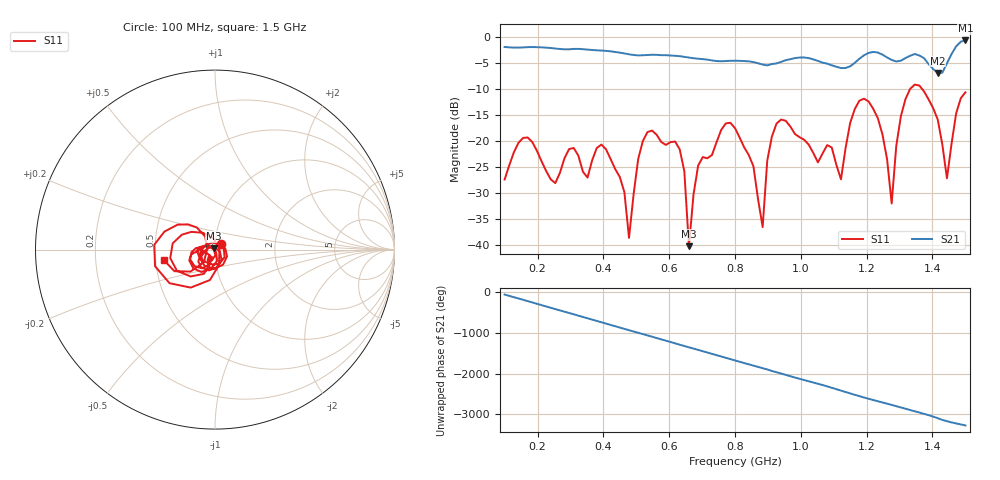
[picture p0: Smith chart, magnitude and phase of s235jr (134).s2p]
! NanoVNA-App
! Date: 2025-09-25 15:05:12
! Start: 100MHz Stop: 1,5GHz Points: 101
! S-Parameter data: F S11 S21 S12 S22
# Hz S RI R 50
!  Frequency  S11_Real  S11_Imag  S21_Real  S21_Imag  S12_Real  S12_Imag  S22_Real  S22_Imag
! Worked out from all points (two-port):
!   101 points, 100 MHz to 1.5 GHz, reference 50 ohm
!   highest |S21| = -0.71 dB at 1.5 GHz (marker M1); lowest = -7.0 dB at 1.416 GHz (marker M2)
!   |S21| within 3 dB of the highest: start of sweep to 626.8 MHz; 1.189 GHz to 1.255 GHz (66.09 MHz wide, 5.41 % of centre) (the widest 2 of 4)
!   lowest |S11| = -40.3 dB at 660 MHz (marker M3), VSWR 1.02, Z = 49.3 + j0.637 ohm
!   |S11| at or under -10 dB: start of sweep to 1.333 GHz; 1.368 GHz to end of sweep
!   S12 and S22 are empty: the file has one direction only
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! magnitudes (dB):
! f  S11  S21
! 100 MHz  -27.5  -2.0
! 170 MHz  -19.4  -2.0
! 338 MHz  -26.0  -2.4
! 408 MHz  -21.6  -2.7
! 478 MHz  -38.7  -3.4
! 520 MHz  -20.1  -3.6
! 576 MHz  -20.3  -3.5
! 632 MHz  -21.7  -3.7
! 660 MHz  -40.3  -4.0
! 688 MHz  -24.8  -4.2
! 800 MHz  -17.6  -4.6
! 884 MHz  -36.6  -5.3
! 898 MHz  -23.8  -5.5
! 926 MHz  -16.7  -5.1
! 1.038 GHz  -22.4  -4.4
! 1.122 GHz  -27.4  -6.0
! 1.206 GHz  -12.5  -3.1
! 1.276 GHz  -32.1  -4.5
! 1.332 GHz  -10.0  -3.7
! 1.416 GHz  -15.9  -7.0
! 1.444 GHz  -27.2  -5.1
! 1.5 GHz  -10.7  -0.7
